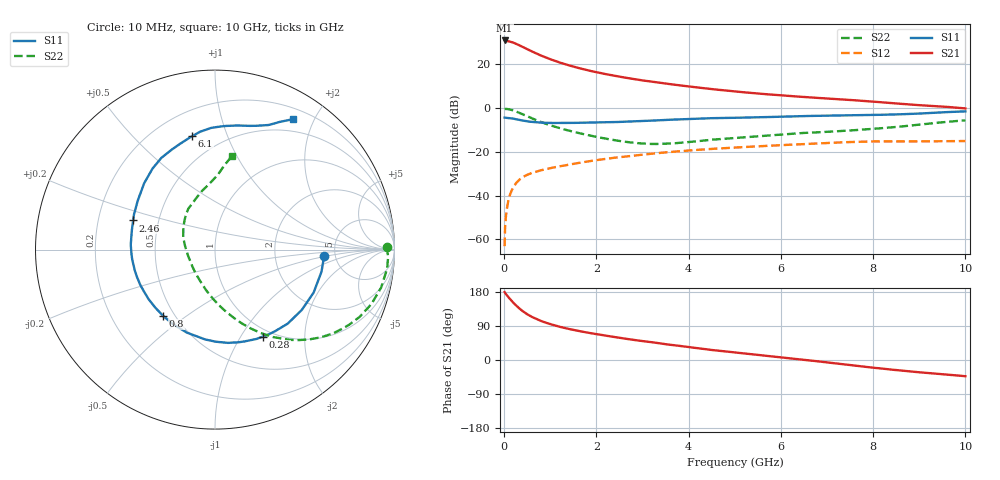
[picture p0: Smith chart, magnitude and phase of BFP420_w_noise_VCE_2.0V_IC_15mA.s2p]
! Infineon Technologies  Discrete & RF Semiconductors
! BFP420
! VCE =  2.0 V,  IC =  15 mA
! Common Emitter S-Parameters:  Jan 2016
# GHz  S  MA  R  50
!  f  S11  S21  S12  S22
! GHz  MAG  ANG  MAG  ANG  MAG  ANG  MAG  ANG
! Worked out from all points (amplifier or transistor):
!   233 points, 10 MHz to 10 GHz, reference 50 ohm
!   highest |S21| = 31.0 dB at 10 MHz (marker M1)
!   |S21| within 3 dB of that: start of sweep to 406.7 MHz
!   unconditionally stable (mu >= 1): 2.008 GHz to end of sweep
!   at 200 MHz: K = 0.19, MSG = 33.0 dB, |S12| = -36.1 dB
!   at 1.74 GHz: K = 0.94, MSG = 21.2 dB, |S12| = -24.6 dB
!   at 10 GHz: K = 1.07, MAG = 5.8 dB, |S12| = -15.0 dB
!   lowest NFmin = 1.06 dB at 900 MHz
!   S11 on the Smith chart (normalised r, x): 10 MHz: 4.06, -0.48; 280 MHz: 0.90, -1.25; 800 MHz: 0.43, -0.41; 2.46 GHz: 0.36, +0.15; 6.1 GHz: 0.35, +0.76; 10 GHz: 0.33, +1.72
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0.01  0.6091 -3.5  35.47 179.2  0.0007 126.9  0.9558 1.0
0.02  0.6077 -4.6  34.71 176.9  0.0019 87.1  0.9655 -2.3
0.06  0.6027 -14.1  34.4 170.7  0.0051 82.9  0.9608 -7.6
0.1  0.5994 -23.6  34.03 164.8  0.0084 80.7  0.9495 -12.9
0.15  0.589 -34.8  32.93 157.6  0.0122 76.0  0.9229 -19.2
0.2  0.5781 -45.5  31.6 151.0  0.0157 71.7  0.8883 -25.0
0.28  0.5527 -61.2  29.03 141.4  0.0205 66.0  0.8239 -33.2
0.32  0.5421 -68.6  27.8 137.0  0.0226 63.6  0.7907 -36.9
0.4  0.5248 -82.0  25.32 129.1  0.0263 59.6  0.7258 -43.6
0.5  0.5035 -96.3  22.43 120.8  0.03 55.9  0.6504 -50.6
0.6  0.4884 -108.7  19.94 113.8  0.033 53.3  0.5852 -56.4
0.8  0.4691 -128.1  16 103.0  0.0381 50.3  0.4825 -65.6
1  0.4617 -143.2  13.2 94.6  0.0426 48.8  0.4073 -73.2
1.2  0.4604 -154.9  11.13 87.8  0.0469 48.0  0.351 -80.0
1.68  0.4654 -175.6  7.985 75.1  0.0575 46.4  0.2611 -95.0
2.46  0.4842 160.4  5.361 59.4  0.0752 42.4  0.181 -122.1
3.4  0.533 138.9  3.782 43.6  0.0956 35.6  0.1529 -164.0
5.1  0.6072 113.3  2.364 18.6  0.1279 21.5  0.2121 146.0
6.1  0.6442 101.5  1.935 5.8  0.1446 13.3  0.255 129.0
6.8  0.6709 94.0  1.721 -3.5  0.1569 6.8  0.2813 118.4
8.4  0.7164 74.2  1.31 -25.4  0.1741 -10.4  0.3643 95.5
10  0.8475 59.0  0.99 -42.8  0.1776 -22.4  0.5285 79.8
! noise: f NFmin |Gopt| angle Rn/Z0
0.9  1.06  0.09  -152  0.13
1.8  1.36  0.18  -147  0.12
2.4  1.49  0.17  -148  0.14
3  1.53  0.25  -138  0.14
4  1.67  0.38  -119  0.2
5  2.14  0.44  -103  0.32
6  2.48  0.5  -88  0.47
